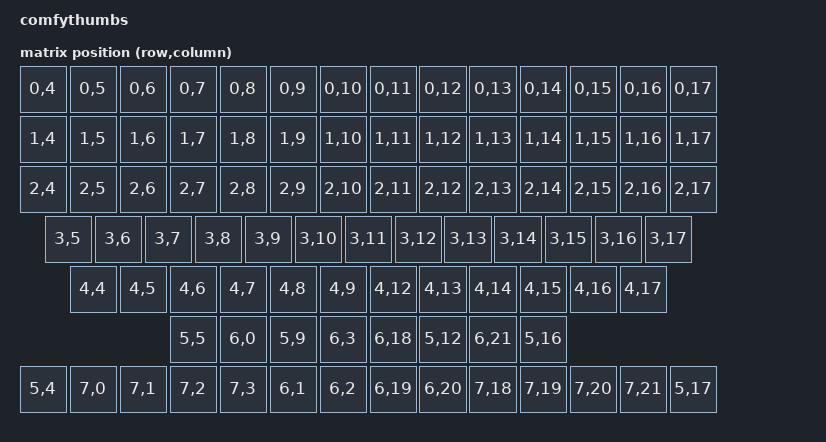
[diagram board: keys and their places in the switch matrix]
/*
*
* Copyright (c) 2021 Malakai King
* SPDX-License-Identifier: MIT
*
*/

/dts-v1/;
#include <nordic/nrf52840_qiaa.dtsi>

#include <dt-bindings/zmk/matrix-transform.h>

/ {
	model = "comfythumbs";
	compatible = "comfythumbs";

	chosen {
		zephyr,code-partition = &code_partition;
		zephyr,sram = &sram0;
		zephyr,flash = &flash0;
		zmk,kscan = &kscan0;
		zmk,matrix_transform = &default_transform;
	};

	default_transform: keymap_transform_0 {
		compatible = "zmk,matrix-transform";
		columns = <22>;
		rows = <8>;

					map = <
                RC(0,4) RC(0,5) RC(0,6) RC(0,7) RC(0,8) RC(0,9) RC(0,10)        RC(0,11) RC(0,12) RC(0,13) RC(0,14) RC(0,15) RC(0,16) RC(0,17)
								RC(1,4) RC(1,5) RC(1,6) RC(1,7) RC(1,8) RC(1,9) RC(1,10)        RC(1,11) RC(1,12) RC(1,13) RC(1,14) RC(1,15) RC(1,16) RC(1,17)
								RC(2,4) RC(2,5) RC(2,6) RC(2,7) RC(2,8) RC(2,9) RC(2,10)        RC(2,11) RC(2,12) RC(2,13) RC(2,14) RC(2,15) RC(2,16) RC(2,17)
								        RC(3,5) RC(3,6) RC(3,7) RC(3,8) RC(3,9) RC(3,10)        RC(3,11) RC(3,12) RC(3,13) RC(3,14) RC(3,15) RC(3,16) RC(3,17)
								RC(4,4) RC(4,5) RC(4,6) RC(4,7) RC(4,8) RC(4,9)                          RC(4,12) RC(4,13) RC(4,14) RC(4,15) RC(4,16) RC(4,17)
								        RC(5,5)         RC(6,0)         RC(5,9) RC(6,3)         RC(6,18) RC(5,12)          RC(6,21)          RC(5,16)
								RC(5,4) RC(7,0) RC(7,1) RC(7,2) RC(7,3) RC(6,1) RC(6,2)         RC(6,19) RC(6,20) RC(7,18) RC(7,19) RC(7,20) RC(7,21) RC(5,17)         
		>;
	};
	vbatt {
		compatible = "zmk,battery-voltage-divider";
		label = "BATTERY";
		io-channels = <&adc 2>;
    output-ohms = <2000000>;
		full-ohms = <(2000000 + 806000)>;
	};
};


&adc {
	status = "okay";
};

&gpiote {
	status = "okay";
};

&gpio0 {
	status = "okay";
};

&gpio1 {
	status = "okay";
};

&usbd {
	status = "okay";
};

&flash0 {
	/*
	 * For more information, see:
	 * http://docs.zephyrproject.org/latest/devices/dts/flash_partitions.html
	 */
	partitions {
		compatible = "fixed-partitions";
		#address-cells = <1>;
		#size-cells = <1>;

		sd_partition: partition@0 {
			label = "mbr";
			reg = <0x00000000 0x00001000>;
		};
		code_partition: partition@1000 {
			label = "code_partition";
			reg = <0x00001000 0x000d3000>;
		};

		storage_partition: partition@d4000 {
			label = "storage";
			reg = <0x000d4000 0x00020000>;
		};

		boot_partition: partition@f4000 {
			label = "adafruit_boot";
			reg = <0x000f4000 0x0000c000>;
		};
	};
};
